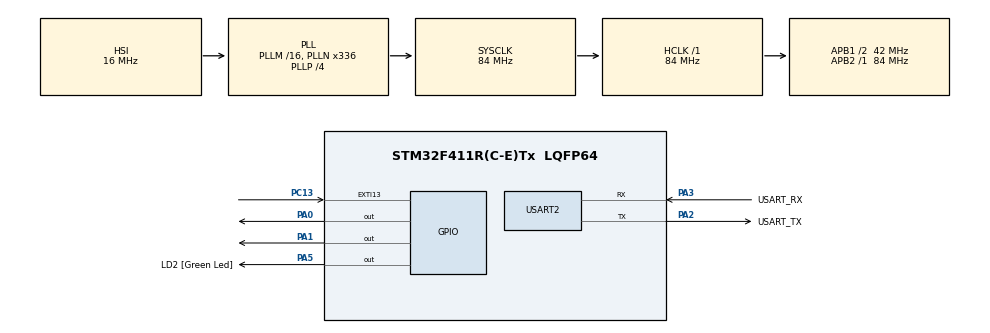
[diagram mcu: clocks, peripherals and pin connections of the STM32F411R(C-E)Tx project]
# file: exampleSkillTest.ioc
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Mcu.Family=STM32F4
Mcu.Name=STM32F411R(C-E)Tx
Mcu.Package=LQFP64
NVIC.EXTI15_10_IRQn=true\:0\:0\:true\:false\:true\:true\:true\:true
NVIC.PriorityGroup=NVIC_PRIORITYGROUP_0
PA0-WKUP.Signal=GPIO_Output
PA1.Signal=GPIO_Output
PA13.GPIO_Label=TMS
PA13.Mode=Serial_Wire
PA13.Signal=SYS_JTMS-SWDIO
PA14.GPIO_Label=TCK
PA14.Mode=Serial_Wire
PA14.Signal=SYS_JTCK-SWCLK
PA2.GPIO_Label=USART_TX
PA2.Mode=Asynchronous
PA2.Signal=USART2_TX
PA3.GPIO_Label=USART_RX
PA3.Mode=Asynchronous
PA3.Signal=USART2_RX
PA5.GPIO_Label=LD2 [Green Led]
PA5.Signal=GPIO_Output
PB3.GPIO_Label=SWO
PB3.Signal=SYS_JTDO-SWO
PC13-ANTI_TAMP.GPIO_ModeDefaultEXTI=GPIO_MODE_IT_RISING_FALLING
PC13-ANTI_TAMP.Signal=GPXTI13
PC14-OSC32_IN.Mode=LSE-External-Oscillator
PC14-OSC32_IN.Signal=RCC_OSC32_IN
PC15-OSC32_OUT.Mode=LSE-External-Oscillator
PC15-OSC32_OUT.Signal=RCC_OSC32_OUT
PH0\ -\ OSC_IN.Mode=HSE-External-Clock-Source
PH0\ -\ OSC_IN.Signal=RCC_OSC_IN
PH1\ -\ OSC_OUT.Mode=HSE-External-Clock-Source
PH1\ -\ OSC_OUT.Signal=RCC_OSC_OUT
ProjectManager.HeapSize=0x200
ProjectManager.StackSize=0x400
ProjectManager.TargetToolchain=STM32CubeIDE
RCC.48MHZClocksFreq_Value=84000000
RCC.AHBFreq_Value=84000000
RCC.APB1CLKDivider=RCC_HCLK_DIV2
RCC.APB1Freq_Value=42000000
RCC.APB1TimFreq_Value=84000000
RCC.APB2Freq_Value=84000000
RCC.APB2TimFreq_Value=84000000
RCC.CortexFreq_Value=84000000
RCC.FLatency-AdvancedSettings=FLASH_LATENCY_2
RCC.HCLKFreq_Value=84000000
RCC.HSE_VALUE=8000000
RCC.HSI_VALUE=16000000
RCC.PLLN=336
RCC.PLLP=RCC_PLLP_DIV4
RCC.SYSCLKFreq_VALUE=84000000
RCC.SYSCLKSource=RCC_SYSCLKSOURCE_PLLCLK
RCC.VCOOutputFreq_Value=336000000
USART2.VirtualMode=VM_ASYNC
board=NUCLEO-F411RE

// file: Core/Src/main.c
/* USER CODE BEGIN Header */
/**
 ******************************************************************************
 * @file           : main.c
 * @brief          : Main program body
 ******************************************************************************
 * @attention
 *
 * Copyright (c) 2024 STMicroelectronics.
 * All rights reserved.
 *
 * This software is licensed under terms that can be found in the LICENSE file
 * in the root directory of this software component.
 * If no LICENSE file comes with this software, it is provided AS-IS.
 *
 ******************************************************************************
 */
/* USER CODE END Header */
#include "main.h"

UART_HandleTypeDef huart2;

void SystemClock_Config(void);
static void MX_GPIO_Init(void);
static void MX_USART2_UART_Init(void);

/* USER CODE BEGIN 0 */
uint8_t state = 2;
uint8_t isPushing = 0;
uint32_t lastPushTick = 0;
uint32_t debounceTick = 50;

void HAL_GPIO_EXTI_Callback(uint16_t GPIO_Pin) {
	if (HAL_GetTick() - lastPushTick < debounceTick) {
		return;
	}
	if (isPushing == 0
			&& HAL_GPIO_ReadPin(GPIOC, GPIO_PIN_13) == GPIO_PIN_RESET) {
		if (state == 0) {
			state = 1;
		} else if (state == 1) {
			state = 2;
		} else {
			state = 0;
		}
		isPushing = 1;
		lastPushTick = HAL_GetTick();
	}
	if (isPushing == 1
			&& HAL_GPIO_ReadPin(GPIOC, GPIO_PIN_13) == GPIO_PIN_SET) {
		isPushing = 0;
	}
}
/* USER CODE END 0 */

int main(void)
{

  /* MCU Configuration--------------------------------------------------------*/

  /* Reset of all peripherals, Initializes the Flash interface and the Systick. */
  HAL_Init();

  /* Configure the system clock */
  SystemClock_Config();

  /* Initialize all configured peripherals */
  MX_GPIO_Init();
  MX_USART2_UART_Init();

  /* Infinite loop */
	while (1) {

    /* USER CODE BEGIN 3 */

		HAL_GPIO_TogglePin(GPIOA, GPIO_PIN_5);
		if (state >= 1) {
			HAL_GPIO_TogglePin(GPIOA, GPIO_PIN_0);
		}
		if (state >= 2) {
			HAL_GPIO_TogglePin(GPIOA, GPIO_PIN_1);
		}
		HAL_Delay(500);
	}
  /* USER CODE END 3 */
}

void SystemClock_Config(void)
{
  RCC_OscInitTypeDef RCC_OscInitStruct = {0};
  RCC_ClkInitTypeDef RCC_ClkInitStruct = {0};

  /** Configure the main internal regulator output voltage
  */
  __HAL_RCC_PWR_CLK_ENABLE();
  __HAL_PWR_VOLTAGESCALING_CONFIG(PWR_REGULATOR_VOLTAGE_SCALE1);

  /** Initializes the RCC Oscillators according to the specified parameters
  * in the RCC_OscInitTypeDef structure.
  */
  RCC_OscInitStruct.OscillatorType = RCC_OSCILLATORTYPE_HSI;
  RCC_OscInitStruct.HSIState = RCC_HSI_ON;
  RCC_OscInitStruct.HSICalibrationValue = RCC_HSICALIBRATION_DEFAULT;
  RCC_OscInitStruct.PLL.PLLState = RCC_PLL_ON;
  RCC_OscInitStruct.PLL.PLLSource = RCC_PLLSOURCE_HSI;
  RCC_OscInitStruct.PLL.PLLM = 16;
  RCC_OscInitStruct.PLL.PLLN = 336;
  RCC_OscInitStruct.PLL.PLLP = RCC_PLLP_DIV4;
  RCC_OscInitStruct.PLL.PLLQ = 4;
  if (HAL_RCC_OscConfig(&RCC_OscInitStruct) != HAL_OK)
  {
    Error_Handler();
  }

  /** Initializes the CPU, AHB and APB buses clocks
  */
  RCC_ClkInitStruct.ClockType = RCC_CLOCKTYPE_HCLK|RCC_CLOCKTYPE_SYSCLK
                              |RCC_CLOCKTYPE_PCLK1|RCC_CLOCKTYPE_PCLK2;
  RCC_ClkInitStruct.SYSCLKSource = RCC_SYSCLKSOURCE_PLLCLK;
  RCC_ClkInitStruct.AHBCLKDivider = RCC_SYSCLK_DIV1;
  RCC_ClkInitStruct.APB1CLKDivider = RCC_HCLK_DIV2;
  RCC_ClkInitStruct.APB2CLKDivider = RCC_HCLK_DIV1;

  if (HAL_RCC_ClockConfig(&RCC_ClkInitStruct, FLASH_LATENCY_2) != HAL_OK)
  {
    Error_Handler();
  }
}

static void MX_USART2_UART_Init(void)
{

  huart2.Instance = USART2;
  huart2.Init.BaudRate = 115200;
  huart2.Init.WordLength = UART_WORDLENGTH_8B;
  huart2.Init.StopBits = UART_STOPBITS_1;
  huart2.Init.Parity = UART_PARITY_NONE;
  huart2.Init.Mode = UART_MODE_TX_RX;
  huart2.Init.HwFlowCtl = UART_HWCONTROL_NONE;
  huart2.Init.OverSampling = UART_OVERSAMPLING_16;
  if (HAL_UART_Init(&huart2) != HAL_OK)
  {
    Error_Handler();
  }

}

static void MX_GPIO_Init(void)
{
  GPIO_InitTypeDef GPIO_InitStruct = {0};

  /* GPIO Ports Clock Enable */
  __HAL_RCC_GPIOC_CLK_ENABLE();
  __HAL_RCC_GPIOH_CLK_ENABLE();
  __HAL_RCC_GPIOA_CLK_ENABLE();
  __HAL_RCC_GPIOB_CLK_ENABLE();

  /*Configure GPIO pin Output Level */
  HAL_GPIO_WritePin(GPIOA, GPIO_PIN_0|GPIO_PIN_1|LD2_Pin, GPIO_PIN_RESET);

  /*Configure GPIO pin : PC13 */
  GPIO_InitStruct.Pin = GPIO_PIN_13;
  GPIO_InitStruct.Mode = GPIO_MODE_IT_RISING_FALLING;
  GPIO_InitStruct.Pull = GPIO_NOPULL;
  HAL_GPIO_Init(GPIOC, &GPIO_InitStruct);

  /*Configure GPIO pins : PA0 PA1 LD2_Pin */
  GPIO_InitStruct.Pin = GPIO_PIN_0|GPIO_PIN_1|LD2_Pin;
  GPIO_InitStruct.Mode = GPIO_MODE_OUTPUT_PP;
  GPIO_InitStruct.Pull = GPIO_NOPULL;
  GPIO_InitStruct.Speed = GPIO_SPEED_FREQ_LOW;
  HAL_GPIO_Init(GPIOA, &GPIO_InitStruct);

  /* EXTI interrupt init*/
  HAL_NVIC_SetPriority(EXTI15_10_IRQn, 0, 0);
  HAL_NVIC_EnableIRQ(EXTI15_10_IRQn);

}

void Error_Handler(void)
{
	__disable_irq();
	while (1) {
	}
}
